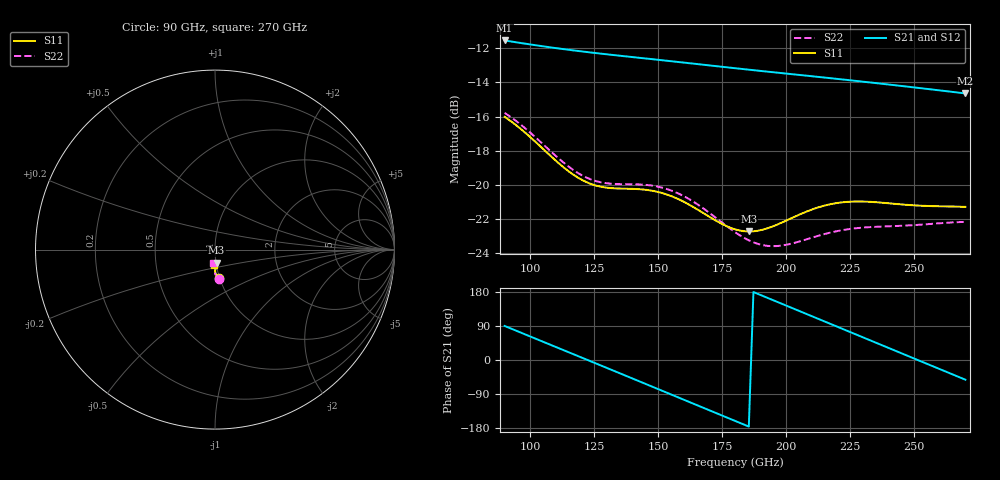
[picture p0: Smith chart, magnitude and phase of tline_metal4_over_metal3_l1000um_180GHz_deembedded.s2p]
! Created with skrf 2.0.1 (http://scikit-rf.org).
# GHz S DB R 50.0
!freq dBS11 angS11 dBS21 angS21 dBS12 angS12 dBS22 angS22
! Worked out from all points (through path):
!   101 points, 90 GHz to 270 GHz, reference 50 ohm
!   highest |S21| = -11.54 dB at 90 GHz (marker M1); lowest = -14.6 dB at 270 GHz (marker M2)
!   group delay of S21, straight-line fit = 7.75 ps
!   lowest |S11| = -22.7 dB at 185.4 GHz (marker M3), VSWR 1.16, Z = 50.4 - j7.34 ohm
!   |S11| at or under -10 dB: start of sweep to end of sweep
!   |S22| runs from -23.6 to -15.8 dB; largest |S21 - S12| = 3.7e-13
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90  -16.01 -82.7  -11.54 89.9  -11.54 89.9  -15.78 -82.6
97.2  -16.83 -86.5  -11.71 69.9  -11.71 69.9  -16.58 -86.8
106.2  -18.06 -89.3  -11.91 44.9  -11.91 44.9  -17.79 -90.1
113.4  -19.02 -89.2  -12.05 25.0  -12.05 25.0  -18.74 -90.5
120.6  -19.74 -87.3  -12.19 5.0  -12.19 5.0  -19.47 -89.1
127.8  -20.12 -85.0  -12.31 -15.0  -12.31 -15.0  -19.86 -87.2
135  -20.22 -83.9  -12.43 -35.0  -12.43 -35.0  -19.96 -86.5
144  -20.27 -84.8  -12.58 -60.1  -12.58 -60.1  -19.99 -88.1
151.2  -20.47 -86.8  -12.69 -80.2  -12.69 -80.2  -20.15 -90.9
163.8  -21.31 -89.7  -12.90 -115.4  -12.90 -115.4  -20.99 -96.3
172.8  -22.12 -88.9  -13.05 -140.5  -13.05 -140.5  -21.96 -98.0
180  -22.61 -85.9  -13.16 -160.6  -13.16 -160.6  -22.77 -97.0
185.4  -22.73 -82.9  -13.25 -175.7  -13.25 -175.7  -23.25 -94.8
196.2  -22.35 -78.1  -13.42 154.2  -13.42 154.2  -23.59 -89.0
210.6  -21.42 -78.5  -13.64 114.0  -13.64 114.0  -23.07 -85.3
217.8  -21.12 -80.8  -13.76 93.9  -13.76 93.9  -22.78 -85.8
225  -20.99 -83.5  -13.87 73.7  -13.87 73.7  -22.58 -87.0
232.2  -20.99 -86.0  -13.99 53.6  -13.99 53.6  -22.48 -88.5
241.2  -21.10 -88.4  -14.14 28.4  -14.14 28.4  -22.42 -90.3
248.4  -21.19 -89.8  -14.26 8.3  -14.26 8.3  -22.37 -91.6
255.6  -21.24 -91.0  -14.39 -11.8  -14.39 -11.8  -22.30 -93.1
270  -21.29 -93.8  -14.64 -52.0  -14.64 -52.0  -22.17 -97.2
